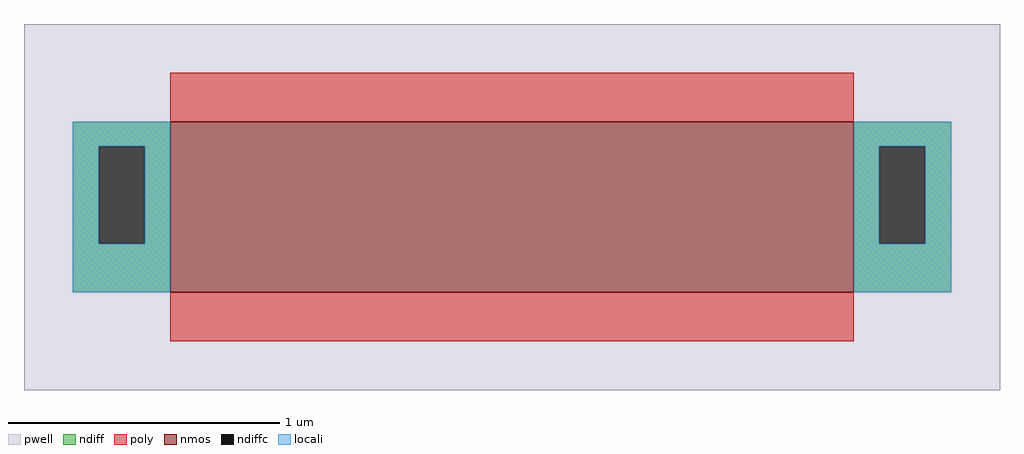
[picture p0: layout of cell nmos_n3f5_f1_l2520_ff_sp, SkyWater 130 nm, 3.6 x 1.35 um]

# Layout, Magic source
magic
tech sky130A
magscale 1 2
<< pwell >>
rect -72 -72 648 198
<< nmos >>
rect 36 0 540 126
<< ndiff >>
rect -36 108 36 126
rect -36 36 -17 108
rect 17 36 36 108
rect -36 0 36 36
rect 540 108 612 126
rect 540 36 559 108
rect 593 36 612 108
rect 540 0 612 36
<< ndiffc >>
rect -17 36 17 108
rect 559 36 593 108
<< poly >>
rect 36 126 540 162
rect 36 -36 540 0
<< locali >>
rect -36 108 36 126
rect -36 36 -17 108
rect 17 36 36 108
rect -36 0 36 36
rect 540 108 612 126
rect 540 36 559 108
rect 593 36 612 108
rect 540 0 612 36
<< end >>
